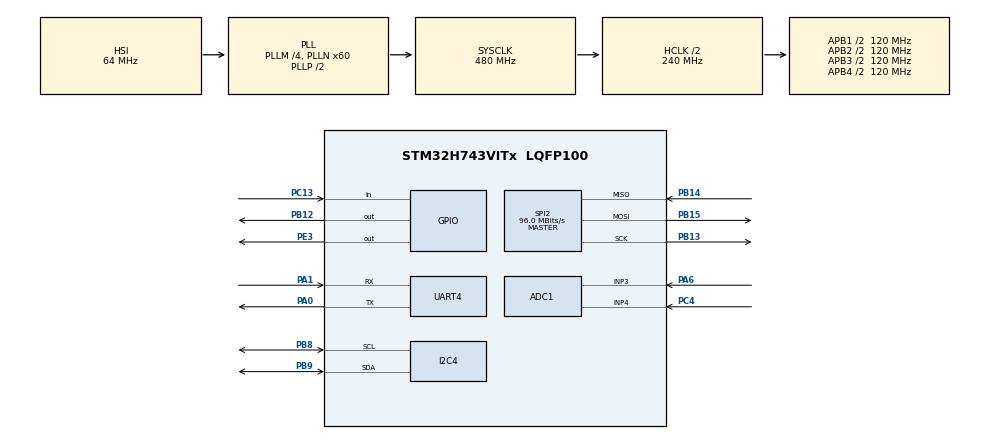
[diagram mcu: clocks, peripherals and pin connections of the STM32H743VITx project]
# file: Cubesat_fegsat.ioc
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ADC1.Channel-0\#ChannelRegularConversion=ADC_CHANNEL_3
ADC1.NbrOfConversionFlag=1
ADC1.OffsetNumber-0\#ChannelRegularConversion=ADC_OFFSET_NONE
ADC1.OffsetSignedSaturation-0\#ChannelRegularConversion=DISABLE
ADC1.Rank-0\#ChannelRegularConversion=1
ADC1.SamplingTime-0\#ChannelRegularConversion=ADC_SAMPLETIME_1CYCLE_5
ADC1.master=1
CORTEX_M7.default_mode_Activation=1
I2C4.Timing=0x307075B1
Mcu.Family=STM32H7
Mcu.Name=STM32H743VITx
Mcu.Package=LQFP100
NVIC.PriorityGroup=NVIC_PRIORITYGROUP_4
PA0.Mode=Asynchronous
PA0.Signal=UART4_TX
PA1.Mode=Asynchronous
PA1.Signal=UART4_RX
PA13\ (JTMS/SWDIO).Mode=Serial_Wire
PA13\ (JTMS/SWDIO).Signal=DEBUG_JTMS-SWDIO
PA14\ (JTCK/SWCLK).Mode=Serial_Wire
PA14\ (JTCK/SWCLK).Signal=DEBUG_JTCK-SWCLK
PA6.Signal=ADCx_INP3
PB12.GPIO_Speed=GPIO_SPEED_FREQ_HIGH
PB12.PinState=GPIO_PIN_SET
PB12.Signal=GPIO_Output
PB13.Mode=Full_Duplex_Master
PB13.Signal=SPI2_SCK
PB14.GPIO_Speed=GPIO_SPEED_FREQ_HIGH
PB14.Mode=Full_Duplex_Master
PB14.Signal=SPI2_MISO
PB15.Mode=Full_Duplex_Master
PB15.Signal=SPI2_MOSI
PB8.Mode=I2C
PB8.Signal=I2C4_SCL
PB9.Mode=I2C
PB9.Signal=I2C4_SDA
PC10.Signal=SPI3_SCK
PC13.GPIO_PuPd=GPIO_PULLDOWN
PC13.Signal=GPIO_Input
PC4.Signal=ADCx_INP4
PE3.PinState=GPIO_PIN_RESET
PE3.Signal=GPIO_Output
ProjectManager.HeapSize=0x200
ProjectManager.StackSize=0x400
ProjectManager.TargetToolchain=CMake
RCC.ADCFreq_Value=80000000
RCC.APB1Freq_Value=120000000
RCC.APB2Freq_Value=120000000
RCC.APB3Freq_Value=120000000
RCC.APB4Freq_Value=120000000
RCC.CortexFreq_Value=480000000
RCC.D1PPRE=RCC_APB3_DIV2
RCC.D2PPRE1=RCC_APB1_DIV2
RCC.D2PPRE2=RCC_APB2_DIV2
RCC.D3PPRE=RCC_APB4_DIV2
RCC.DIVM1=4
RCC.DIVM2=4
RCC.DIVN1=60
RCC.DIVN2=10
RCC.DIVQ1=5
RCC.HCLKFreq_Value=240000000
RCC.HPRE=RCC_HCLK_DIV2
RCC.PLL2FRACN=0
RCC.PLL3FRACN=0
RCC.PLLFRACN=0
RCC.SYSCLKFreq_VALUE=480000000
RCC.SYSCLKSource=RCC_SYSCLKSOURCE_PLLCLK
RCC.USBFreq_Value=192000000
SH.ADCx_INP3.0=ADC1_INP3,IN3-Single-Ended
SH.ADCx_INP4.0=ADC1_INP4,IN4-Single-Ended
SPI2.CalculateBaudRate=96.0 MBits/s
SPI2.Direction=SPI_DIRECTION_2LINES
SPI2.Mode=SPI_MODE_MASTER
SPI2.VirtualType=VM_MASTER
VP_MEMORYMAP_VS_MEMORYMAP.Mode=CurAppReg
board=custom

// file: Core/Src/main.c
/* USER CODE BEGIN Header */
/**
  ******************************************************************************
  * @file           : main.c
  * @brief          : Main program body - MS5611, BME68X & BMI323
  ******************************************************************************
  */
/* USER CODE END Header */
#include "main.h"

/* USER CODE BEGIN Includes */
#include "BMI323_STM32.h"
#include "ms5611.h"
#include "bme68x_app.h"
#include <string.h>
#include <stdio.h>
/* USER CODE END Includes */

ADC_HandleTypeDef hadc1;

I2C_HandleTypeDef hi2c4;

SPI_HandleTypeDef hspi2;

UART_HandleTypeDef huart4;

/* USER CODE BEGIN PV */
float temperature_ms5611, pressure_ms5611;
BMI323_Data imu_data;
BME68X_Data bme68x_data;
uint32_t led_last_toggle = 0;
/* USER CODE END PV */

void SystemClock_Config(void);
static void MPU_Config(void);
static void MX_GPIO_Init(void);
static void MX_ADC1_Init(void);
static void MX_I2C4_Init(void);
static void MX_SPI2_Init(void);
static void MX_UART4_Init(void);
/* USER CODE BEGIN PFP */
void I2C_Scanner(I2C_HandleTypeDef *hi2c);
/* USER CODE END PFP */

/* USER CODE BEGIN 0 */
void I2C_Scanner(I2C_HandleTypeDef *hi2c)
{
    char buffer[64];
    uint8_t found = 0;

    sprintf(buffer, "\r\n--- Escaneando barramento I2C ---\r\n");
    HAL_UART_Transmit(&huart4, (uint8_t *)buffer, strlen(buffer), 100);

    for (uint8_t addr = 1; addr < 128; addr++)
    {
        if (HAL_I2C_IsDeviceReady(hi2c, (addr << 1), 2, 10) == HAL_OK)
        {
            sprintf(buffer, "Dispositivo encontrado no endereco 0x%02X\r\n", addr);
            HAL_UART_Transmit(&huart4, (uint8_t *)buffer, strlen(buffer), 100);
            found++;
        }
    }

    if (found == 0)
    {
        sprintf(buffer, "Nenhum dispositivo respondeu no barramento.\r\n");
        HAL_UART_Transmit(&huart4, (uint8_t *)buffer, strlen(buffer), 100);
    }

    sprintf(buffer, "--- Fim do scan (%d encontrado(s)) ---\r\n\r\n", found);
    HAL_UART_Transmit(&huart4, (uint8_t *)buffer, strlen(buffer), 100);
}
/* USER CODE END 0 */

int main(void)
{

  /* MPU Configuration--------------------------------------------------------*/
  MPU_Config();

  /* MCU Configuration--------------------------------------------------------*/

  /* Reset of all peripherals, Initializes the Flash interface and the Systick. */
  HAL_Init();

  /* Configure the system clock */
  SystemClock_Config();

  /* Initialize all configured peripherals */
  MX_GPIO_Init();
  MX_ADC1_Init();
  MX_I2C4_Init();
  MX_SPI2_Init();
  MX_UART4_Init();
  /* USER CODE BEGIN 2 */
  char buffer[128];

  /* Scan de dispositivos I2C no barramento 4 */
  I2C_Scanner(&hi2c4);

  /* ------------------------------- MS5611 ------------------------------- */
  MS5611_Init(&hi2c4, 1); /* teste: 1 = formula MS5607. Se a pressao ficar certa, mantenha assim; se piorar, volte para 0 */

  /* ------------------------------- BME68X ------------------------------- */
  if (BME68X_App_Init(&hi2c4) != BME68X_OK)
  {
      sprintf(buffer, "Erro ao inicializar BME68X!\r\n");
      HAL_UART_Transmit(&huart4, (uint8_t *)buffer, strlen(buffer), 100);
  }

  /* -------------------------------- BMI323 -------------------------------- */
  uint8_t bmi_status = BMI323_Init();

  sprintf(buffer, "BMI323_Init() retornou: %d\r\n", bmi_status);
  HAL_UART_Transmit(&huart4, (uint8_t *)buffer, strlen(buffer), 100);

  sprintf(buffer, "BMI323 CHIP_ID lido: 0x%02X (esperado: 0x43)\r\n", g_bmi323_debug_chip_id);
  HAL_UART_Transmit(&huart4, (uint8_t *)buffer, strlen(buffer), 100);

  /* USER CODE END 2 */

  /* Infinite loop */
  while (1)
  {

    /* USER CODE BEGIN 3 */
    /*-----------------------------LED---------------------*/
    if (HAL_GetTick() - led_last_toggle >= 1000)
    {
      HAL_GPIO_TogglePin(GPIOE, GPIO_PIN_3);
      led_last_toggle = HAL_GetTick();
    }

    /* ---------------- Leitura do BME68X ---------------- */
    if (BME68X_App_ReadData(&bme68x_data))
    {
      sprintf(buffer, "BME68X  -> Temp: %.2fC | Press: %.2fhPa | Hum: %.2f%% | Gas: %.0f Ohm\r\n",
              bme68x_data.temperature, bme68x_data.pressure,
              bme68x_data.humidity, bme68x_data.gas_resistance);
      HAL_UART_Transmit(&huart4, (uint8_t*)buffer, strlen(buffer), 100);
    }

    /* ---------------- Leitura do MS5611 ---------------- */
    MS5611_Measure(&hi2c4, &temperature_ms5611, &pressure_ms5611);
    sprintf(buffer, "MS5611  -> Temp: %.2f C | Press: %.2f hPa\r\n",
            temperature_ms5611, pressure_ms5611 / 100.0f);
    HAL_UART_Transmit(&huart4, (uint8_t *)buffer, strlen(buffer), 100);

    /* ---------------- Leitura do BMI323 ---------------- */
    if (BMI323_ReadData(&imu_data) == 0)
    {
      sprintf(buffer, "BMI323  -> Accel[g]: X=%.3f Y=%.3f Z=%.3f | Gyro[dps]: X=%.2f Y=%.2f Z=%.2f | Temp=%.1fC\r\n",
              imu_data.accel_x_g, imu_data.accel_y_g, imu_data.accel_z_g,
              imu_data.gyro_x_dps, imu_data.gyro_y_dps, imu_data.gyro_z_dps,
              imu_data.temp_c);
      HAL_UART_Transmit(&huart4, (uint8_t *)buffer, strlen(buffer), 100);
    }

    sprintf(buffer, "------------------------------------------------------------------------------------\r\n");
    HAL_UART_Transmit(&huart4, (uint8_t *)buffer, strlen(buffer), 100);

    HAL_Delay(1000);
  }
  /* USER CODE END 3 */
}

void SystemClock_Config(void)
{
  RCC_OscInitTypeDef RCC_OscInitStruct = {0};
  RCC_ClkInitTypeDef RCC_ClkInitStruct = {0};

  /** Supply configuration update enable
  */
  HAL_PWREx_ConfigSupply(PWR_LDO_SUPPLY);

  /** Configure the main internal regulator output voltage
  */
  __HAL_PWR_VOLTAGESCALING_CONFIG(PWR_REGULATOR_VOLTAGE_SCALE0);

  while(!__HAL_PWR_GET_FLAG(PWR_FLAG_VOSRDY)) {}

  /** Initializes the RCC Oscillators according to the specified parameters
  * in the RCC_OscInitTypeDef structure.
  */
  RCC_OscInitStruct.OscillatorType = RCC_OSCILLATORTYPE_HSI;
  RCC_OscInitStruct.HSIState = RCC_HSI_DIV1;
  RCC_OscInitStruct.HSICalibrationValue = RCC_HSICALIBRATION_DEFAULT;
  RCC_OscInitStruct.PLL.PLLState = RCC_PLL_ON;
  RCC_OscInitStruct.PLL.PLLSource = RCC_PLLSOURCE_HSI;
  RCC_OscInitStruct.PLL.PLLM = 4;
  RCC_OscInitStruct.PLL.PLLN = 60;
  RCC_OscInitStruct.PLL.PLLP = 2;
  RCC_OscInitStruct.PLL.PLLQ = 5;
  RCC_OscInitStruct.PLL.PLLR = 2;
  RCC_OscInitStruct.PLL.PLLRGE = RCC_PLL1VCIRANGE_3;
  RCC_OscInitStruct.PLL.PLLVCOSEL = RCC_PLL1VCOWIDE;
  RCC_OscInitStruct.PLL.PLLFRACN = 0;
  if (HAL_RCC_OscConfig(&RCC_OscInitStruct) != HAL_OK)
  {
    Error_Handler();
  }

  /** Initializes the CPU, AHB and APB buses clocks
  */
  RCC_ClkInitStruct.ClockType = RCC_CLOCKTYPE_HCLK|RCC_CLOCKTYPE_SYSCLK
                              |RCC_CLOCKTYPE_PCLK1|RCC_CLOCKTYPE_PCLK2
                              |RCC_CLOCKTYPE_D3PCLK1|RCC_CLOCKTYPE_D1PCLK1;
  RCC_ClkInitStruct.SYSCLKSource = RCC_SYSCLKSOURCE_PLLCLK;
  RCC_ClkInitStruct.SYSCLKDivider = RCC_SYSCLK_DIV1;
  RCC_ClkInitStruct.AHBCLKDivider = RCC_HCLK_DIV2;
  RCC_ClkInitStruct.APB3CLKDivider = RCC_APB3_DIV2;
  RCC_ClkInitStruct.APB1CLKDivider = RCC_APB1_DIV2;
  RCC_ClkInitStruct.APB2CLKDivider = RCC_APB2_DIV2;
  RCC_ClkInitStruct.APB4CLKDivider = RCC_APB4_DIV2;

  if (HAL_RCC_ClockConfig(&RCC_ClkInitStruct, FLASH_LATENCY_4) != HAL_OK)
  {
    Error_Handler();
  }
}

static void MX_ADC1_Init(void)
{

  ADC_MultiModeTypeDef multimode = {0};
  ADC_ChannelConfTypeDef sConfig = {0};

  /** Common config
  */
  hadc1.Instance = ADC1;
  hadc1.Init.ClockPrescaler = ADC_CLOCK_ASYNC_DIV1;
  hadc1.Init.Resolution = ADC_RESOLUTION_16B;
  hadc1.Init.ScanConvMode = ADC_SCAN_DISABLE;
  hadc1.Init.EOCSelection = ADC_EOC_SINGLE_CONV;
  hadc1.Init.LowPowerAutoWait = DISABLE;
  hadc1.Init.ContinuousConvMode = DISABLE;
  hadc1.Init.NbrOfConversion = 1;
  hadc1.Init.DiscontinuousConvMode = DISABLE;
  hadc1.Init.ExternalTrigConv = ADC_SOFTWARE_START;
  hadc1.Init.ExternalTrigConvEdge = ADC_EXTERNALTRIGCONVEDGE_NONE;
  hadc1.Init.ConversionDataManagement = ADC_CONVERSIONDATA_DR;
  hadc1.Init.Overrun = ADC_OVR_DATA_PRESERVED;
  hadc1.Init.LeftBitShift = ADC_LEFTBITSHIFT_NONE;
  hadc1.Init.OversamplingMode = DISABLE;
  hadc1.Init.Oversampling.Ratio = 1;
  if (HAL_ADC_Init(&hadc1) != HAL_OK)
  {
    Error_Handler();
  }

  /** Configure the ADC multi-mode
  */
  multimode.Mode = ADC_MODE_INDEPENDENT;
  if (HAL_ADCEx_MultiModeConfigChannel(&hadc1, &multimode) != HAL_OK)
  {
    Error_Handler();
  }

  /** Configure Regular Channel
  */
  sConfig.Channel = ADC_CHANNEL_3;
  sConfig.Rank = ADC_REGULAR_RANK_1;
  sConfig.SamplingTime = ADC_SAMPLETIME_1CYCLE_5;
  sConfig.SingleDiff = ADC_SINGLE_ENDED;
  sConfig.OffsetNumber = ADC_OFFSET_NONE;
  sConfig.Offset = 0;
  sConfig.OffsetSignedSaturation = DISABLE;
  if (HAL_ADC_ConfigChannel(&hadc1, &sConfig) != HAL_OK)
  {
    Error_Handler();
  }

}

static void MX_I2C4_Init(void)
{

  hi2c4.Instance = I2C4;
  hi2c4.Init.Timing = 0x307075B1;
  hi2c4.Init.OwnAddress1 = 0;
  hi2c4.Init.AddressingMode = I2C_ADDRESSINGMODE_7BIT;
  hi2c4.Init.DualAddressMode = I2C_DUALADDRESS_DISABLE;
  hi2c4.Init.OwnAddress2 = 0;
  hi2c4.Init.OwnAddress2Masks = I2C_OA2_NOMASK;
  hi2c4.Init.GeneralCallMode = I2C_GENERALCALL_DISABLE;
  hi2c4.Init.NoStretchMode = I2C_NOSTRETCH_DISABLE;
  if (HAL_I2C_Init(&hi2c4) != HAL_OK)
  {
    Error_Handler();
  }

  /** Configure Analogue filter
  */
  if (HAL_I2CEx_ConfigAnalogFilter(&hi2c4, I2C_ANALOGFILTER_ENABLE) != HAL_OK)
  {
    Error_Handler();
  }

  /** Configure Digital filter
  */
  if (HAL_I2CEx_ConfigDigitalFilter(&hi2c4, 0) != HAL_OK)
  {
    Error_Handler();
  }

}

static void MX_SPI2_Init(void)
{

  /* SPI2 parameter configuration*/
  hspi2.Instance = SPI2;
  hspi2.Init.Mode = SPI_MODE_MASTER;
  hspi2.Init.Direction = SPI_DIRECTION_2LINES;
  hspi2.Init.DataSize = SPI_DATASIZE_4BIT;
  hspi2.Init.CLKPolarity = SPI_POLARITY_LOW;
  hspi2.Init.CLKPhase = SPI_PHASE_1EDGE;
  hspi2.Init.NSS = SPI_NSS_SOFT;
  hspi2.Init.BaudRatePrescaler = SPI_BAUDRATEPRESCALER_2;
  hspi2.Init.FirstBit = SPI_FIRSTBIT_MSB;
  hspi2.Init.TIMode = SPI_TIMODE_DISABLE;
  hspi2.Init.CRCCalculation = SPI_CRCCALCULATION_DISABLE;
  hspi2.Init.CRCPolynomial = 0x0;
  hspi2.Init.NSSPMode = SPI_NSS_PULSE_ENABLE;
  hspi2.Init.NSSPolarity = SPI_NSS_POLARITY_LOW;
  hspi2.Init.FifoThreshold = SPI_FIFO_THRESHOLD_01DATA;
  hspi2.Init.TxCRCInitializationPattern = SPI_CRC_INITIALIZATION_ALL_ZERO_PATTERN;
  hspi2.Init.RxCRCInitializationPattern = SPI_CRC_INITIALIZATION_ALL_ZERO_PATTERN;
  hspi2.Init.MasterSSIdleness = SPI_MASTER_SS_IDLENESS_00CYCLE;
  hspi2.Init.MasterInterDataIdleness = SPI_MASTER_INTERDATA_IDLENESS_00CYCLE;
  hspi2.Init.MasterReceiverAutoSusp = SPI_MASTER_RX_AUTOSUSP_DISABLE;
  hspi2.Init.MasterKeepIOState = SPI_MASTER_KEEP_IO_STATE_DISABLE;
  hspi2.Init.IOSwap = SPI_IO_SWAP_DISABLE;
  if (HAL_SPI_Init(&hspi2) != HAL_OK)
  {
    Error_Handler();
  }

}

static void MX_UART4_Init(void)
{

  huart4.Instance = UART4;
  huart4.Init.BaudRate = 115200;
  huart4.Init.WordLength = UART_WORDLENGTH_8B;
  huart4.Init.StopBits = UART_STOPBITS_1;
  huart4.Init.Parity = UART_PARITY_NONE;
  huart4.Init.Mode = UART_MODE_TX_RX;
  huart4.Init.HwFlowCtl = UART_HWCONTROL_NONE;
  huart4.Init.OverSampling = UART_OVERSAMPLING_16;
  huart4.Init.OneBitSampling = UART_ONE_BIT_SAMPLE_DISABLE;
  huart4.Init.ClockPrescaler = UART_PRESCALER_DIV1;
  huart4.AdvancedInit.AdvFeatureInit = UART_ADVFEATURE_NO_INIT;
  if (HAL_UART_Init(&huart4) != HAL_OK)
  {
    Error_Handler();
  }
  if (HAL_UARTEx_SetTxFifoThreshold(&huart4, UART_TXFIFO_THRESHOLD_1_8) != HAL_OK)
  {
    Error_Handler();
  }
  if (HAL_UARTEx_SetRxFifoThreshold(&huart4, UART_RXFIFO_THRESHOLD_1_8) != HAL_OK)
  {
    Error_Handler();
  }
  if (HAL_UARTEx_DisableFifoMode(&huart4) != HAL_OK)
  {
    Error_Handler();
  }

}

static void MX_GPIO_Init(void)
{
  GPIO_InitTypeDef GPIO_InitStruct = {0};

  /* GPIO Ports Clock Enable */
  __HAL_RCC_GPIOE_CLK_ENABLE();
  __HAL_RCC_GPIOC_CLK_ENABLE();
  __HAL_RCC_GPIOA_CLK_ENABLE();
  __HAL_RCC_GPIOB_CLK_ENABLE();

  /*Configure GPIO pin Output Level */
  HAL_GPIO_WritePin(GPIOE, GPIO_PIN_3, GPIO_PIN_RESET);

  /*Configure GPIO pin Output Level */
  HAL_GPIO_WritePin(GPIOB, GPIO_PIN_12, GPIO_PIN_SET);

  /*Configure GPIO pin : PE3 */
  GPIO_InitStruct.Pin = GPIO_PIN_3;
  GPIO_InitStruct.Mode = GPIO_MODE_OUTPUT_PP;
  GPIO_InitStruct.Pull = GPIO_NOPULL;
  GPIO_InitStruct.Speed = GPIO_SPEED_FREQ_LOW;
  HAL_GPIO_Init(GPIOE, &GPIO_InitStruct);

  /*Configure GPIO pin : PC13 */
  GPIO_InitStruct.Pin = GPIO_PIN_13;
  GPIO_InitStruct.Mode = GPIO_MODE_INPUT;
  GPIO_InitStruct.Pull = GPIO_PULLDOWN;
  HAL_GPIO_Init(GPIOC, &GPIO_InitStruct);

  /*Configure GPIO pin : PB12 */
  GPIO_InitStruct.Pin = GPIO_PIN_12;
  GPIO_InitStruct.Mode = GPIO_MODE_OUTPUT_PP;
  GPIO_InitStruct.Pull = GPIO_NOPULL;
  GPIO_InitStruct.Speed = GPIO_SPEED_FREQ_HIGH;
  HAL_GPIO_Init(GPIOB, &GPIO_InitStruct);

  /*Configure GPIO pin : PC10 */
  GPIO_InitStruct.Pin = GPIO_PIN_10;
  GPIO_InitStruct.Mode = GPIO_MODE_AF_PP;
  GPIO_InitStruct.Pull = GPIO_NOPULL;
  GPIO_InitStruct.Speed = GPIO_SPEED_FREQ_LOW;
  GPIO_InitStruct.Alternate = GPIO_AF6_SPI3;
  HAL_GPIO_Init(GPIOC, &GPIO_InitStruct);

}

 /* MPU Configuration */

void MPU_Config(void)
{
  MPU_Region_InitTypeDef MPU_InitStruct = {0};

  /* Disables the MPU */
  HAL_MPU_Disable();

  /** Initializes and configures the Region and the memory to be protected
  */
  MPU_InitStruct.Enable = MPU_REGION_ENABLE;
  MPU_InitStruct.Number = MPU_REGION_NUMBER0;
  MPU_InitStruct.BaseAddress = 0x0;
  MPU_InitStruct.Size = MPU_REGION_SIZE_4GB;
  MPU_InitStruct.SubRegionDisable = 0x87;
  MPU_InitStruct.TypeExtField = MPU_TEX_LEVEL0;
  MPU_InitStruct.AccessPermission = MPU_REGION_NO_ACCESS;
  MPU_InitStruct.DisableExec = MPU_INSTRUCTION_ACCESS_DISABLE;
  MPU_InitStruct.IsShareable = MPU_ACCESS_SHAREABLE;
  MPU_InitStruct.IsCacheable = MPU_ACCESS_NOT_CACHEABLE;
  MPU_InitStruct.IsBufferable = MPU_ACCESS_NOT_BUFFERABLE;

  HAL_MPU_ConfigRegion(&MPU_InitStruct);
  /* Enables the MPU */
  HAL_MPU_Enable(MPU_PRIVILEGED_DEFAULT);

}

void Error_Handler(void)
{
  __disable_irq();
  while (1)
  {
  }
}
